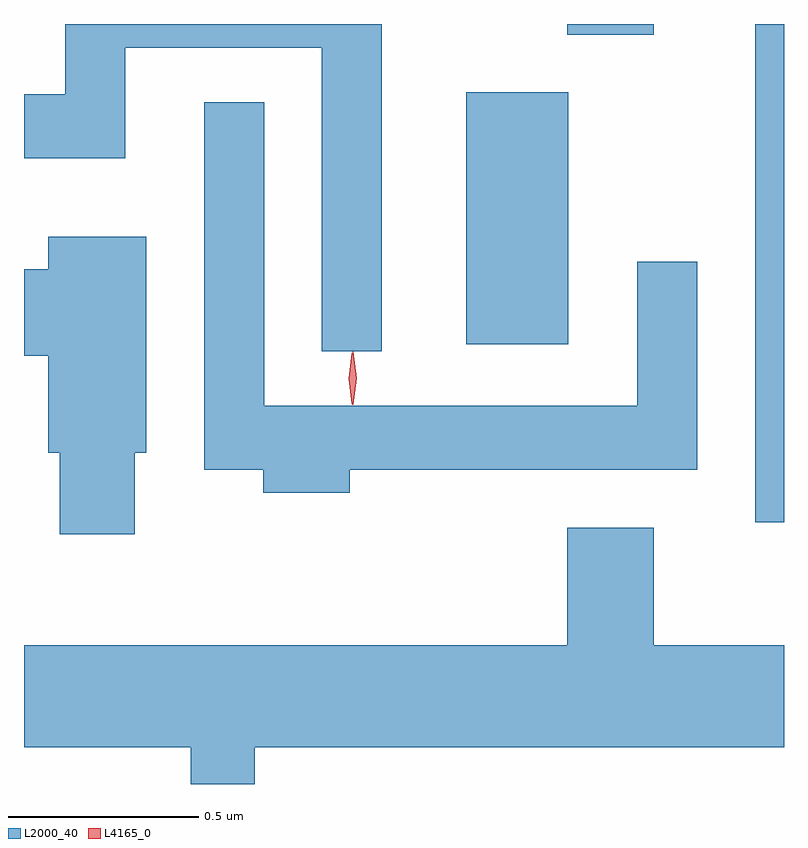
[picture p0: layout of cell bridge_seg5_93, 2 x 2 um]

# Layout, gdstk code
import gdstk
lib = gdstk.Library(unit=1e-6, precision=1e-09)
def R(c, l, rs):  # rectangles x0, y0, x1, y1
    for r in rs: c.add(gdstk.rectangle(r[:2], r[2:], *l))
def P(c, l, *ps):  # polygons
    for p in ps: c.add(gdstk.Polygon(p, *l))
L2000_40 = (2000, 40)
L4165_0 = (4165, 0)

bridge_seg5_93 = lib.new_cell('bridge_seg5_93')
R(bridge_seg5_93, L2000_40, [(1206.506,1490.688,1206.582,1491.999), (1205.746,1491.156,1206.014,1491.819), (1206.011,1491.971,1206.239,1491.999)])
P(bridge_seg5_93, L2000_40, [(1205.524,1491.999),(1204.691,1491.999),(1204.691,1491.814),(1204.582,1491.814),(1204.582,1491.646),(1204.849,1491.646),(1204.849,1491.936),(1205.366,1491.936),(1205.366,1491.138),(1205.524,1491.138)],
  [(1205.439,1490.826),(1206.354,1490.826),(1206.354,1491.373),(1206.196,1491.373),(1206.196,1490.994),(1205.214,1490.994),(1205.214,1491.793),(1205.056,1491.793),(1205.056,1490.826),(1205.211,1490.826),(1205.211,1490.766),(1205.439,1490.766)],
  [(1204.874,1490.871),(1204.904,1490.871),(1204.904,1491.439),(1204.646,1491.439),(1204.646,1491.354),(1204.582,1491.354),(1204.582,1491.126),(1204.646,1491.126),(1204.646,1490.871),(1204.676,1490.871),(1204.676,1490.656),(1204.874,1490.656)],
  [(1205.189,1490.096),(1206.582,1490.096),(1206.582,1490.364),(1206.239,1490.364),(1206.239,1490.674),(1206.011,1490.674),(1206.011,1490.364),(1204.582,1490.364),(1204.582,1490.096),(1205.021,1490.096),(1205.021,1489.999),(1205.189,1489.999)])
P(bridge_seg5_93, L4165_0, [(1205.446,1490.999),(1205.445,1491),(1205.436,1491.066),(1205.445,1491.132),(1205.446,1491.133),(1205.446,1491.132),(1205.456,1491.066),(1205.446,1491)],
  [(1205.447,1490.997),(1205.447,1490.997),(1205.437,1491.067),(1205.447,1491.136),(1205.447,1491.136),(1205.448,1491.136),(1205.457,1491.067),(1205.448,1490.997)])

lib.write_gds('bridge_seg5_93.gds')
